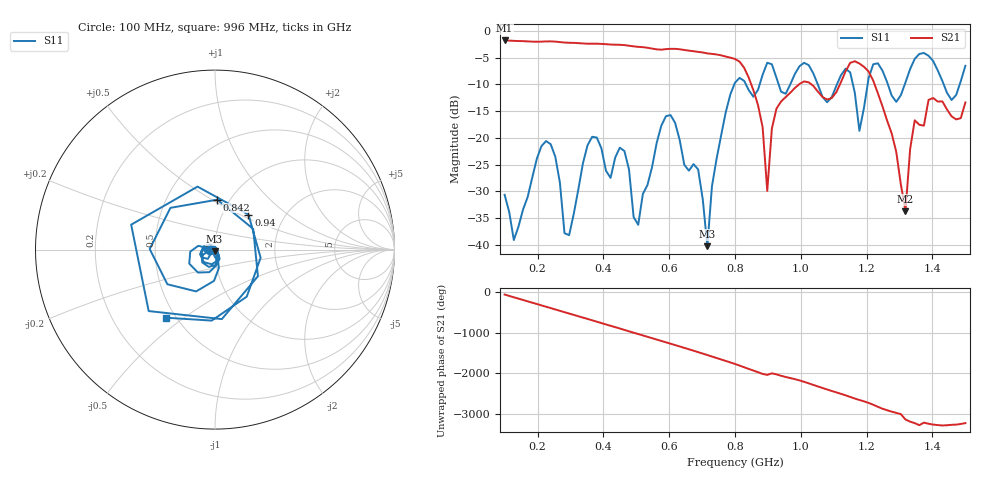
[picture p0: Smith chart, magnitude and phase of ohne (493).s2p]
! NanoVNA-App
! Date: 2025-09-25 14:24:38
! Start: 100MHz Stop: 1,5GHz Points: 101
! S-Parameter data: F S11 S21 S12 S22
# Hz S RI R 50
!  Frequency  S11_Real  S11_Imag  S21_Real  S21_Imag  S12_Real  S12_Imag  S22_Real  S22_Imag
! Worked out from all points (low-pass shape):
!   101 points, 100 MHz to 1.5 GHz, reference 50 ohm
!   highest |S21| = -1.79 dB at 100 MHz (marker M1); lowest = -33.7 dB at 1.318 GHz (marker M2)
!   |S21| within 3 dB of the highest: start of sweep to 771.3 MHz
!   lowest |S11| = -40.2 dB at 716 MHz (marker M3), VSWR 1.02, Z = 49.7 - j0.927 ohm
!   |S11| at or under -10 dB: start of sweep to 797.9 MHz; 833.1 MHz to 875 MHz (41.92 MHz wide, 4.91 % of centre); 1.052 GHz to 1.11 GHz (58.32 MHz wide, 5.4 % of centre) (the widest 3 of 7)
!   S12 and S22 are empty: the file has one direction only
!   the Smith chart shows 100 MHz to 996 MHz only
!   S11 on the Smith chart (normalised r, x): 100 MHz: 0.94, -0.01; 842 MHz: 0.88, +0.53; 940 MHz: 1.32, +0.56; 996 MHz: 0.44, -0.43
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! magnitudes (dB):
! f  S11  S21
! 100 MHz  -30.6  -1.8
! 128 MHz  -39.1  -1.9
! 226 MHz  -20.6  -2.0
! 296 MHz  -38.2  -2.2
! 338 MHz  -24.7  -2.3
! 464 MHz  -22.5  -2.7
! 506 MHz  -36.3  -3.0
! 576 MHz  -17.8  -3.5
! 688 MHz  -25.9  -3.9
! 716 MHz  -40.2  -4.2
! 800 MHz  -9.7  -5.3
! 842 MHz  -11.1  -8.8
! 898 MHz  -6.0  -29.9
! 940 MHz  -11.4  -13.2
! 996 MHz  -6.6  -9.9
! 1.038 GHz  -8.0  -10.3
! 1.178 GHz  -18.7  -6.1
! 1.22 GHz  -6.2  -9.3
! 1.276 GHz  -12.1  -19.2
! 1.318 GHz  -9.6  -33.7
! 1.346 GHz  -5.2  -16.7
! 1.5 GHz  -6.5  -13.4
